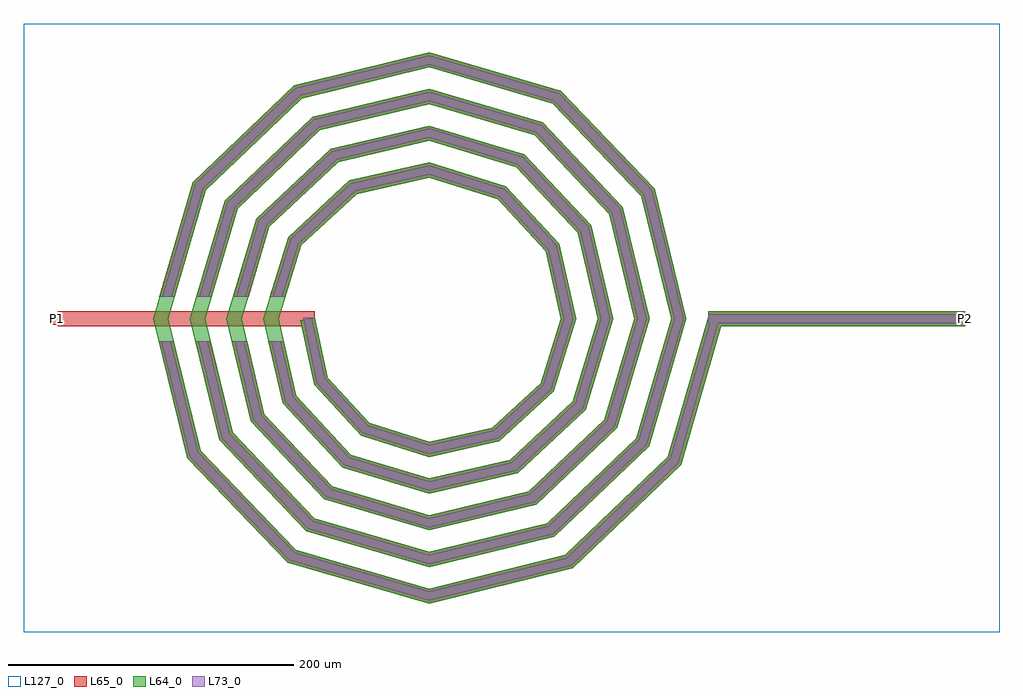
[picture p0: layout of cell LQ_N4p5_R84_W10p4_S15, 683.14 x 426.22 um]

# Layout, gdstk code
import gdstk
lib = gdstk.Library(unit=1e-6, precision=1e-09)
def R(c, l, rs):  # rectangles x0, y0, x1, y1
    for r in rs: c.add(gdstk.rectangle(r[:2], r[2:], *l))
def P(c, l, *ps):  # polygons
    for p in ps: c.add(gdstk.Polygon(p, *l))
L64_0 = (64, 0)
L65_0 = (65, 0)
L73_0 = (73, 0)
L127_0 = (127, 0)

lq_n4p5_r84_w10p4_s15 = lib.new_cell('LQ_N4p5_R84_W10p4_S15')
R(lq_n4p5_r84_w10p4_s15, L64_0, [(195.375,-5.2,375.375,5.2)])
P(lq_n4p5_r84_w10p4_s15, L64_0, [(-70.653,-41.077),(-41.725,-72.751),(0.235,-86.007),(44.273,-76.224),(78.305,-44.95),(92.43,0.22),(81.793,47.471),(48.173,83.86),(0.206,98.852),(-50.671,87.361),(-89.415,51.395),(-105.274,0.194),(-92.929,-53.873),(-54.616,-94.972),(0.184,-111.697),(57.075,-98.496),(100.529,-57.836),(118.119,0.174),(104.063,60.278),(61.055,106.087),(0.165,124.542),(-63.482,109.629),(-111.645,64.273),(-130.965,0.158),(-115.195,-66.687),(-67.491,-117.203),(0.151,-137.387),(69.893,-120.761),(122.762,-70.708),(143.81,0.144),(126.326,73.099),(73.925,128.321),(0.138,150.233),(-76.305,131.891),(-133.881,77.141),(-156.655,0.133),(-137.456,-79.512),(-80.357,-139.44),(0.128,-163.078),(82.719,-143.021),(145,-83.572),(169.501,0.123),(148.585,85.926),(86.787,150.56),(0.119,175.924),(-89.134,154.15),(-156.12,90.002),(-182.346,0.115),(-159.714,-92.342),(-93.217,-161.681),(0.111,-188.769),(95.55,-165.278),(167.241,-96.432),(195.58,1.446),(205.569,-1.446),(176.456,-102.002),(100.743,-174.711),(0.111,-199.534),(-98.794,-170.891),(-169.15,-97.528),(-193.111,0.115),(-165.327,95.585),(-94.313,163.59),(0.119,186.688),(92.378,159.763),(158.029,91.098),(180.265,0.123),(154.198,-89.17),(87.883,-152.469),(0.128,-173.842),(-85.963,-148.633),(-146.909,-84.667),(-167.42,0.133),(-143.068,82.756),(-81.451,141.349),(0.138,160.997),(79.549,137.503),(135.79,78.234),(154.574,0.144),(131.937,-76.343),(75.017,-130.231),(0.151,-148.151),(-73.137,-126.372),(-124.671,-71.8),(-141.728,0.158),(-120.805,69.932),(-68.582,119.113),(0.165,135.305),(66.728,115.239),(113.554,65.363),(128.882,0.174),(109.672,-63.524),(62.144,-107.996),(0.184,-122.458),(-60.321,-104.104),(-102.439,-58.923),(-116.035,0.194),(-98.536,57.119),(-55.702,96.882),(0.206,109.612),(53.918,92.967),(91.326,52.479),(103.189,0.22),(87.397,-50.718),(49.254,-85.77),(0.235,-96.765),(-47.521,-81.826),(-80.216,-46.028),(-90.043,-1.111),(-79.884,1.111)])
R(lq_n4p5_r84_w10p4_s15, L65_0, [(-259.764,-5.2,-79.764,5.2), (195.375,-5.2,375.375,5.2), (-263.764,-4,-255.764,4), (371.375,-4,379.375,4)])
P(lq_n4p5_r84_w10p4_s15, L65_0, [(-159.714,-92.342),(-93.217,-161.681),(0.111,-188.769),(95.55,-165.278),(167.241,-96.432),(195.58,1.446),(205.569,-1.446),(176.456,-102.002),(100.743,-174.711),(0.111,-199.534),(-98.794,-170.892),(-169.15,-97.528),(-189.255,-15.6),(-178.546,-15.6)],
  [(-137.456,-79.512),(-80.357,-139.44),(0.128,-163.078),(82.719,-143.021),(145,-83.572),(169.501,0.123),(148.585,85.926),(86.787,150.56),(0.119,175.924),(-89.134,154.15),(-156.121,90.002),(-177.773,15.6),(-188.605,15.6),(-165.327,95.586),(-94.313,163.59),(0.119,186.688),(92.378,159.763),(158.029,91.098),(180.265,0.123),(154.198,-89.17),(87.883,-152.469),(0.128,-173.842),(-85.963,-148.633),(-146.909,-84.667),(-163.614,-15.6),(-152.914,-15.6)],
  [(-115.195,-66.687),(-67.491,-117.203),(0.151,-137.387),(69.893,-120.761),(122.762,-70.708),(143.81,0.144),(126.326,73.099),(73.925,128.321),(0.138,150.233),(-76.305,131.891),(-133.881,77.141),(-152.019,15.6),(-162.861,15.6),(-143.068,82.756),(-81.451,141.349),(0.138,160.997),(79.549,137.503),(135.79,78.234),(154.574,0.144),(131.937,-76.343),(75.017,-130.231),(0.151,-148.151),(-73.137,-126.372),(-124.672,-71.8),(-137.993,-15.6),(-127.304,-15.6)],
  [(-92.929,-53.873),(-54.616,-94.972),(0.184,-111.697),(57.075,-98.496),(100.529,-57.836),(118.119,0.174),(104.063,60.278),(61.055,106.087),(0.166,124.542),(-63.482,109.629),(-111.645,64.273),(-126.24,15.6),(-137.097,15.6),(-120.805,69.932),(-68.582,119.113),(0.166,135.305),(66.728,115.239),(113.554,65.363),(128.881,0.174),(109.672,-63.524),(62.144,-107.996),(0.184,-122.458),(-60.321,-104.104),(-102.439,-58.923),(-112.403,-15.6),(-101.731,-15.6)],
  [(-41.725,-72.751),(0.235,-86.007),(44.273,-76.224),(78.305,-44.95),(92.43,0.22),(81.793,47.471),(48.173,83.86),(0.206,98.852),(-50.671,87.361),(-89.415,51.395),(-100.419,15.6),(-111.299,15.6),(-98.536,57.119),(-55.702,96.882),(0.206,109.612),(53.918,92.967),(91.326,52.479),(103.189,0.22),(87.398,-50.718),(49.254,-85.77),(0.235,-96.765),(-47.521,-81.827),(-80.216,-46.028),(-90.043,-1.111),(-79.884,1.111),(-70.653,-41.077)])
R(lq_n4p5_r84_w10p4_s15, L73_0, [(195.375,-3.2,375.375,3.2)])
P(lq_n4p5_r84_w10p4_s15, L73_0, [(-161.529,-93.339),(-94.29,-163.452),(0.068,-190.839),(96.549,-167.092),(169.013,-97.503),(197.501,0.89),(203.648,0.89),(174.684,-100.931),(99.744,-172.897),(0.068,-197.464),(-97.721,-169.12),(-167.335,-96.531),(-187.196,-15.6),(-180.606,-15.6)],
  [(-139.274,-80.503),(-81.435,-141.208),(0.079,-165.148),(83.712,-144.838),(146.769,-84.649),(171.571,0.076),(150.402,86.921),(87.863,152.33),(0.073,177.994),(-90.13,155.965),(-157.891,91.076),(-179.856,15.6),(-186.522,15.6),(-163.557,94.512),(-93.317,161.774),(0.073,184.618),(91.303,157.993),(156.213,90.103),(178.195,0.076),(152.429,-88.094),(86.89,-150.652),(0.079,-171.772),(-84.885,-146.865),(-145.091,-83.675),(-161.557,-15.6),(-154.972,-15.6)],
  [(-117.018,-67.67),(-68.577,-118.966),(0.093,-139.457),(70.878,-122.582),(124.527,-71.792),(145.88,0.089),(128.146,74.086),(75.006,130.087),(0.085,152.303),(-77.294,133.71),(-135.648,78.221),(-154.104,15.6),(-160.776,15.6),(-141.301,81.676),(-80.461,139.531),(0.085,158.927),(78.468,135.737),(133.97,77.247),(152.504,0.089),(130.173,-75.259),(74.032,-128.409),(0.093,-146.081),(-72.051,-124.608),(-122.849,-70.817),(-135.937,-15.6),(-129.36,-15.6)],
  [(-94.758,-54.844),(-55.713,-96.728),(0.113,-113.766),(58.05,-100.323),(102.287,-58.93),(120.189,0.107),(105.888,61.256),(62.146,107.847),(0.102,126.612),(-64.463,111.453),(-113.406,65.361),(-128.328,15.6),(-135.009,15.6),(-119.044,68.844),(-67.601,117.289),(0.102,133.235),(65.637,113.479),(111.729,64.385),(126.812,0.107),(107.914,-62.43),(61.169,-106.17),(0.113,-120.389),(-59.224,-102.348),(-100.61,-57.952),(-110.351,-15.6),(-103.783,-15.6)],
  [(-42.839,-74.496),(0.145,-88.076),(45.231,-78.06),(80.053,-46.059),(94.499,0.135),(83.626,48.434),(49.278,85.611),(0.127,100.921),(-51.639,89.192),(-91.169,52.496),(-102.511,15.6),(-109.207,15.6),(-96.782,56.018),(-54.734,95.051),(0.127,107.543),(52.813,91.216),(89.493,51.516),(101.12,0.135),(85.649,-49.609),(48.296,-83.935),(0.145,-94.697),(-46.406,-80.081),(-78.377,-45.076),(-88.09,0.684),(-81.837,0.684),(-72.492,-42.029)])
R(lq_n4p5_r84_w10p4_s15, L127_0, [(-283.764,-219.534,399.375,206.688)])
lq_n4p5_r84_w10p4_s15.add(gdstk.Label('P2', (375.375,0), layer=65, texttype=0))
lq_n4p5_r84_w10p4_s15.add(gdstk.Label('P1', (-259.764,0), layer=65, texttype=0))
lq_n4p5_r84_w10p4_s15.add(gdstk.Label('P2', (379.375,0), layer=145, texttype=0))
lq_n4p5_r84_w10p4_s15.add(gdstk.Label('P1', (-263.764,0), layer=145, texttype=0))

lib.write_gds('LQ_N4p5_R84_W10p4_S15.gds')
